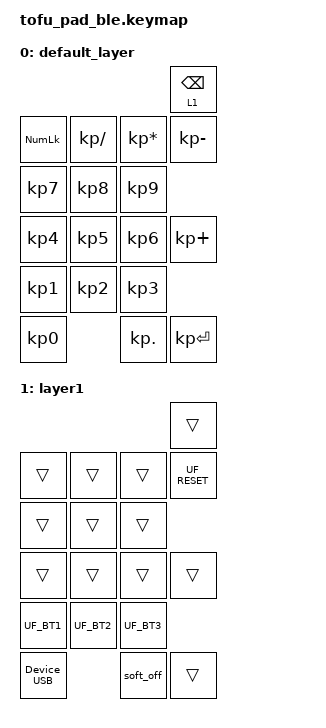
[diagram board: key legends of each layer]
#include "common.keymap"

#define UF_RESET bootloader_reset 0 0
#define UF_BT1 device_bt1 0 0
#define UF_BT2 device_bt2 0 1
#define UF_BT3 device_bt3 0 2

/ {
    keymap {
        compatible = "zmk,keymap";
        
        default_layer {

            bindings = <
                                                      &lt_hp 1 BSPC
        &kp KP_NLCK    &kp KP_SLASH &kp KP_ASTERISK   &kp KP_MINUS
        &kp KP_N7      &kp KP_N8    &kp KP_N9         
        &kp KP_N4      &kp KP_N5    &kp KP_N6         &kp KP_PLUS
        &kp KP_N1      &kp KP_N2    &kp KP_N3         
        &kp KP_N0                   &kp KP_DOT        &kp KP_ENTER
            >;
        };

        layer1 {
            bindings = <
                                                   &trans 
        &trans         &trans       &trans        &UF_RESET
        &trans         &trans       &trans 
        &trans         &trans       &trans         &trans
        &UF_BT1        &UF_BT2      &UF_BT3
        &Device_USB                 &soft_off       &trans          
            >;
        };
        layer2 { status = "reserved"; };
        layer3 { status = "reserved"; };
        layer4 { status = "reserved"; };
        layer5 { status = "reserved"; };
        layer6 { status = "reserved"; };
        layer7 { status = "reserved"; };
    };
};
